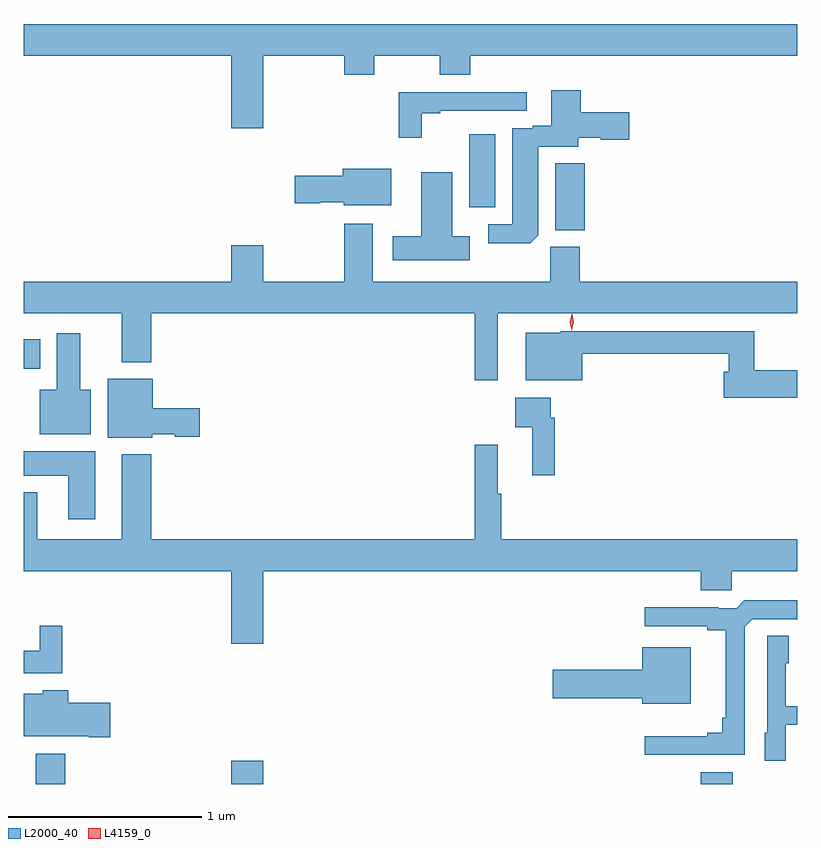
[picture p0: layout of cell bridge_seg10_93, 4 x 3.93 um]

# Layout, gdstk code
import gdstk
lib = gdstk.Library(unit=1e-6, precision=1e-09)
def R(c, l, rs):  # rectangles x0, y0, x1, y1
    for r in rs: c.add(gdstk.rectangle(r[:2], r[2:], *l))
def P(c, l, *ps):  # polygons
    for p in ps: c.add(gdstk.Polygon(p, *l))
L2000_40 = (2000, 40)
L4159_0 = (4159, 0)

bridge_seg10_93 = lib.new_cell('bridge_seg10_93')
R(bridge_seg10_93, L2000_40, [(559.601,1296.552,559.754,1296.709), (560.612,1296.552,560.776,1296.673), (563.039,1296.552,563.203,1296.613), (559.538,1298.699,559.624,1298.851), (562.286,1299.415,562.439,1299.761), (561.842,1299.534,561.976,1299.91)])
P(bridge_seg10_93, L2000_40, [(560.776,1300.316),(561.196,1300.316),(561.196,1300.217),(561.351,1300.217),(561.351,1300.316),(561.688,1300.316),(561.688,1300.217),(561.848,1300.217),(561.848,1300.316),(563.538,1300.316),(563.538,1300.48),(559.538,1300.48),(559.538,1300.316),(560.612,1300.316),(560.612,1299.942),(560.776,1299.942)],
  [(562.198,1299.388),(562.198,1299.846),(562.405,1299.846),(562.405,1299.893),(562.522,1299.893),(562.522,1299.881),(562.669,1299.881),(562.669,1300.023),(562.418,1300.023),(562.418,1300.138),(562.265,1300.138),(562.265,1299.955),(562.169,1299.955),(562.169,1299.942),(562.064,1299.942),(562.064,1299.444),(561.939,1299.444),(561.939,1299.347),(562.157,1299.347)],
  [(561.597,1300.02),(561.691,1300.02),(561.691,1300.032),(562.138,1300.032),(562.138,1300.128),(561.478,1300.128),(561.478,1299.891),(561.597,1299.891)],
  [(561.439,1299.733),(561.188,1299.733),(561.188,1299.695),(560.94,1299.695),(560.94,1299.553),(561.072,1299.553),(561.072,1299.56),(561.192,1299.56),(561.192,1299.542),(561.439,1299.542)],
  [(561.844,1299.382),(561.754,1299.382),(561.754,1299.715),(561.593,1299.715),(561.593,1299.382),(561.447,1299.382),(561.447,1299.26),(561.844,1299.26)],
  [(561.988,1298.984),(563.538,1298.984),(563.538,1299.148),(562.412,1299.148),(562.412,1299.33),(562.261,1299.33),(562.261,1299.148),(561.343,1299.148),(561.343,1299.448),(561.196,1299.448),(561.196,1299.148),(560.776,1299.148),(560.776,1299.337),(560.612,1299.337),(560.612,1299.148),(559.538,1299.148),(559.538,1298.984),(560.045,1298.984),(560.045,1298.732),(560.198,1298.732),(560.198,1298.984),(561.871,1298.984),(561.871,1298.64),(561.988,1298.64)],
  [(563.538,1298.691),(563.315,1298.691),(563.315,1298.892),(562.314,1298.892),(562.314,1298.884),(562.133,1298.884),(562.133,1298.639),(562.426,1298.639),(562.426,1298.776),(563.183,1298.776),(563.183,1298.683),(563.156,1298.683),(563.156,1298.549),(563.538,1298.549)],
  [(559.885,1298.59),(559.831,1298.59),(559.831,1298.881),(559.709,1298.881),(559.709,1298.59),(559.622,1298.59),(559.622,1298.36),(559.885,1298.36)],
  [(560.202,1298.36),(560.319,1298.36),(560.319,1298.348),(560.449,1298.348),(560.449,1298.495),(560.206,1298.495),(560.206,1298.647),(559.973,1298.647),(559.973,1298.342),(560.202,1298.342)],
  [(562.283,1298.444),(562.263,1298.444),(562.263,1298.548),(562.08,1298.548),(562.08,1298.396),(562.166,1298.396),(562.166,1298.148),(562.283,1298.148)],
  [(560.776,1297.652),(563.039,1297.652),(563.039,1297.554),(563.199,1297.554),(563.199,1297.652),(563.538,1297.652),(563.538,1297.816),(562.007,1297.816),(562.007,1298.052),(561.989,1298.052),(561.989,1298.305),(561.871,1298.305),(561.871,1297.816),(560.198,1297.816),(560.198,1298.257),(560.045,1298.257),(560.045,1297.816),(559.609,1297.816),(559.609,1298.059),(559.538,1298.059),(559.538,1297.652),(560.612,1297.652),(560.612,1297.278),(560.776,1297.278)],
  [(559.909,1298.272),(559.538,1298.272),(559.538,1298.144),(559.769,1298.144),(559.769,1297.92),(559.909,1297.92)],
  [(563.265,1297.365),(563.304,1297.404),(563.535,1297.404),(563.538,1297.401),(563.538,1297.501),(563.263,1297.501),(563.223,1297.461),(563.129,1297.461),(563.129,1297.466),(562.749,1297.466),(562.749,1297.368),(563.072,1297.368),(563.072,1297.346),(563.168,1297.346),(563.168,1296.895),(563.149,1296.895),(563.149,1296.818),(563.072,1296.818),(563.072,1296.799),(562.749,1296.799),(562.749,1296.702),(563.265,1296.702)],
  [(559.739,1297.369),(559.622,1297.369),(559.622,1297.24),(559.538,1297.24),(559.538,1297.124),(559.739,1297.124)],
  [(563.478,1296.857),(563.538,1296.857),(563.538,1296.954),(563.478,1296.954),(563.478,1297.176),(563.494,1297.176),(563.494,1297.319),(563.382,1297.319),(563.382,1296.816),(563.369,1296.816),(563.369,1296.672),(563.478,1296.672)],
  [(562.987,1297.258),(562.736,1297.258),(562.736,1297.142),(562.272,1297.142),(562.272,1296.995),(562.736,1296.995),(562.736,1296.968),(562.987,1296.968)],
  [(559.987,1296.971),(559.769,1296.971),(559.769,1297.036),(559.638,1297.036),(559.638,1297.018),(559.538,1297.018),(559.538,1296.8),(559.874,1296.8),(559.874,1296.793),(559.987,1296.793)])
P(bridge_seg10_93, L4159_0, [(562.371,1298.897),(562.362,1298.938),(562.372,1298.979),(562.373,1298.979),(562.373,1298.979),(562.382,1298.938),(562.372,1298.897),(562.372,1298.897)])

lib.write_gds('bridge_seg10_93.gds')
